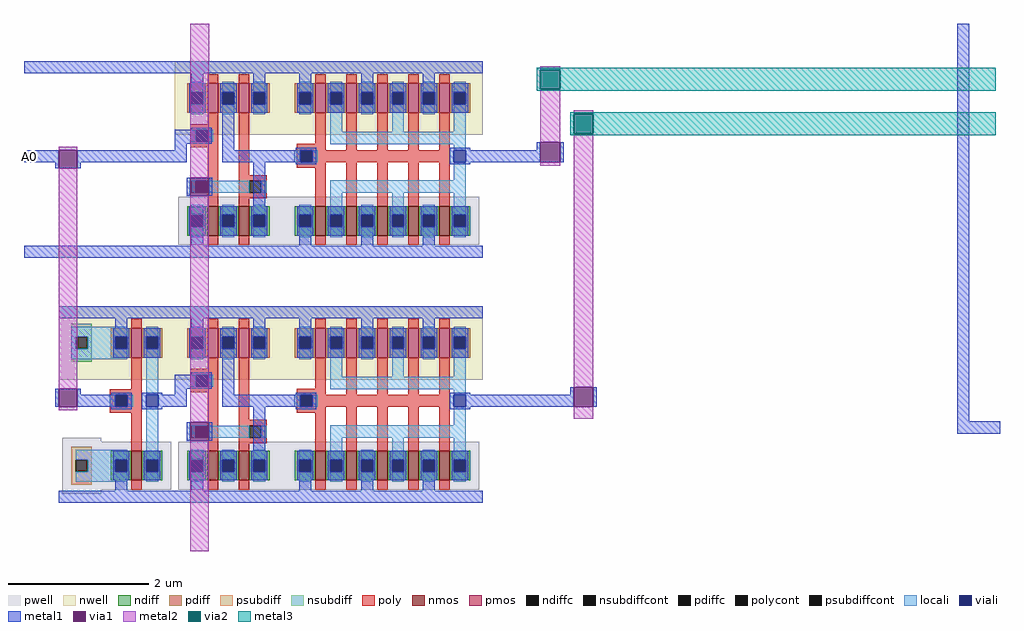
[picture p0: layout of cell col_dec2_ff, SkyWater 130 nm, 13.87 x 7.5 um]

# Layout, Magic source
magic
tech sky130A
magscale 1 2
<< nwell >>
rect 428 1184 1304 1392
rect 99 488 1304 696
<< pwell >>
rect 438 871 1294 1007
rect 109 311 219 323
rect 109 175 419 311
rect 438 175 1294 311
rect 109 163 219 175
<< nmos >>
rect 522 897 552 981
rect 610 897 640 981
rect 828 897 858 981
rect 916 897 946 981
rect 1004 897 1034 981
rect 1092 897 1122 981
rect 1180 897 1210 981
rect 305 201 335 285
rect 522 201 552 285
rect 610 201 640 285
rect 828 201 858 285
rect 916 201 946 285
rect 1004 201 1034 285
rect 1092 201 1122 285
rect 1180 201 1210 285
<< pmos >>
rect 522 1246 552 1330
rect 610 1246 640 1330
rect 828 1246 858 1330
rect 916 1246 946 1330
rect 1004 1246 1034 1330
rect 1092 1246 1122 1330
rect 1180 1246 1210 1330
rect 305 550 335 634
rect 522 550 552 634
rect 610 550 640 634
rect 828 550 858 634
rect 916 550 946 634
rect 1004 550 1034 634
rect 1092 550 1122 634
rect 1180 550 1210 634
<< ndiff >>
rect 464 956 522 981
rect 464 922 476 956
rect 510 922 522 956
rect 464 897 522 922
rect 552 956 610 981
rect 552 922 564 956
rect 598 922 610 956
rect 552 897 610 922
rect 640 956 698 981
rect 640 922 652 956
rect 686 922 698 956
rect 640 897 698 922
rect 770 956 828 981
rect 770 922 782 956
rect 816 922 828 956
rect 770 897 828 922
rect 858 956 916 981
rect 858 922 870 956
rect 904 922 916 956
rect 858 897 916 922
rect 946 956 1004 981
rect 946 922 958 956
rect 992 922 1004 956
rect 946 897 1004 922
rect 1034 956 1092 981
rect 1034 922 1046 956
rect 1080 922 1092 956
rect 1034 897 1092 922
rect 1122 956 1180 981
rect 1122 922 1134 956
rect 1168 922 1180 956
rect 1122 897 1180 922
rect 1210 956 1268 981
rect 1210 922 1222 956
rect 1256 922 1268 956
rect 1210 897 1268 922
rect 247 260 305 285
rect 247 226 259 260
rect 293 226 305 260
rect 247 201 305 226
rect 335 260 393 285
rect 335 226 347 260
rect 381 226 393 260
rect 335 201 393 226
rect 464 260 522 285
rect 464 226 476 260
rect 510 226 522 260
rect 464 201 522 226
rect 552 260 610 285
rect 552 226 564 260
rect 598 226 610 260
rect 552 201 610 226
rect 640 260 698 285
rect 640 226 652 260
rect 686 226 698 260
rect 640 201 698 226
rect 770 260 828 285
rect 770 226 782 260
rect 816 226 828 260
rect 770 201 828 226
rect 858 260 916 285
rect 858 226 870 260
rect 904 226 916 260
rect 858 201 916 226
rect 946 260 1004 285
rect 946 226 958 260
rect 992 226 1004 260
rect 946 201 1004 226
rect 1034 260 1092 285
rect 1034 226 1046 260
rect 1080 226 1092 260
rect 1034 201 1092 226
rect 1122 260 1180 285
rect 1122 226 1134 260
rect 1168 226 1180 260
rect 1122 201 1180 226
rect 1210 260 1268 285
rect 1210 226 1222 260
rect 1256 226 1268 260
rect 1210 201 1268 226
<< pdiff >>
rect 464 1305 522 1330
rect 464 1271 476 1305
rect 510 1271 522 1305
rect 464 1246 522 1271
rect 552 1305 610 1330
rect 552 1271 564 1305
rect 598 1271 610 1305
rect 552 1246 610 1271
rect 640 1305 698 1330
rect 640 1271 652 1305
rect 686 1271 698 1305
rect 640 1246 698 1271
rect 770 1305 828 1330
rect 770 1271 782 1305
rect 816 1271 828 1305
rect 770 1246 828 1271
rect 858 1305 916 1330
rect 858 1271 870 1305
rect 904 1271 916 1305
rect 858 1246 916 1271
rect 946 1305 1004 1330
rect 946 1271 958 1305
rect 992 1271 1004 1305
rect 946 1246 1004 1271
rect 1034 1305 1092 1330
rect 1034 1271 1046 1305
rect 1080 1271 1092 1305
rect 1034 1246 1092 1271
rect 1122 1305 1180 1330
rect 1122 1271 1134 1305
rect 1168 1271 1180 1305
rect 1122 1246 1180 1271
rect 1210 1305 1268 1330
rect 1210 1271 1222 1305
rect 1256 1271 1268 1305
rect 1210 1246 1268 1271
rect 247 609 305 634
rect 247 575 259 609
rect 293 575 305 609
rect 247 550 305 575
rect 335 609 393 634
rect 335 575 347 609
rect 381 575 393 609
rect 335 550 393 575
rect 464 609 522 634
rect 464 575 476 609
rect 510 575 522 609
rect 464 550 522 575
rect 552 609 610 634
rect 552 575 564 609
rect 598 575 610 609
rect 552 550 610 575
rect 640 609 698 634
rect 640 575 652 609
rect 686 575 698 609
rect 640 550 698 575
rect 770 609 828 634
rect 770 575 782 609
rect 816 575 828 609
rect 770 550 828 575
rect 858 609 916 634
rect 858 575 870 609
rect 904 575 916 609
rect 858 550 916 575
rect 946 609 1004 634
rect 946 575 958 609
rect 992 575 1004 609
rect 946 550 1004 575
rect 1034 609 1092 634
rect 1034 575 1046 609
rect 1080 575 1092 609
rect 1034 550 1092 575
rect 1122 609 1180 634
rect 1122 575 1134 609
rect 1168 575 1180 609
rect 1122 550 1180 575
rect 1210 609 1268 634
rect 1210 575 1222 609
rect 1256 575 1268 609
rect 1210 550 1268 575
<< ndiffc >>
rect 476 922 510 956
rect 564 922 598 956
rect 652 922 686 956
rect 782 922 816 956
rect 870 922 904 956
rect 958 922 992 956
rect 1046 922 1080 956
rect 1134 922 1168 956
rect 1222 922 1256 956
rect 259 226 293 260
rect 347 226 381 260
rect 476 226 510 260
rect 564 226 598 260
rect 652 226 686 260
rect 782 226 816 260
rect 870 226 904 260
rect 958 226 992 260
rect 1046 226 1080 260
rect 1134 226 1168 260
rect 1222 226 1256 260
<< pdiffc >>
rect 476 1271 510 1305
rect 564 1271 598 1305
rect 652 1271 686 1305
rect 782 1271 816 1305
rect 870 1271 904 1305
rect 958 1271 992 1305
rect 1046 1271 1080 1305
rect 1134 1271 1168 1305
rect 1222 1271 1256 1305
rect 259 575 293 609
rect 347 575 381 609
rect 476 575 510 609
rect 564 575 598 609
rect 652 575 686 609
rect 782 575 816 609
rect 870 575 904 609
rect 958 575 992 609
rect 1046 575 1080 609
rect 1134 575 1168 609
rect 1222 575 1256 609
<< psubdiff >>
rect 135 260 193 297
rect 135 226 147 260
rect 181 226 193 260
rect 135 189 193 226
<< nsubdiff >>
rect 135 609 193 646
rect 135 575 147 609
rect 181 575 193 609
rect 135 538 193 575
<< psubdiffcont >>
rect 147 226 181 260
<< nsubdiffcont >>
rect 147 575 181 609
<< poly >>
rect 522 1330 552 1356
rect 610 1330 640 1356
rect 828 1330 858 1356
rect 916 1330 946 1356
rect 1004 1330 1034 1356
rect 1092 1330 1122 1356
rect 1180 1330 1210 1356
rect 522 1214 552 1246
rect 472 1198 552 1214
rect 472 1164 488 1198
rect 522 1164 552 1198
rect 472 1148 552 1164
rect 522 981 552 1148
rect 610 1069 640 1246
rect 828 1158 858 1246
rect 775 1140 858 1158
rect 916 1140 946 1246
rect 1004 1140 1034 1246
rect 1092 1140 1122 1246
rect 1180 1140 1210 1246
rect 775 1106 785 1140
rect 819 1106 1210 1140
rect 775 1090 858 1106
rect 610 1053 690 1069
rect 610 1019 640 1053
rect 674 1019 690 1053
rect 610 1003 690 1019
rect 610 981 640 1003
rect 828 981 858 1090
rect 916 981 946 1106
rect 1004 981 1034 1106
rect 1092 981 1122 1106
rect 1180 981 1210 1106
rect 522 871 552 897
rect 610 871 640 897
rect 828 871 858 897
rect 916 871 946 897
rect 1004 871 1034 897
rect 1092 871 1122 897
rect 1180 871 1210 897
rect 305 634 335 660
rect 522 634 552 660
rect 610 634 640 660
rect 828 634 858 660
rect 916 634 946 660
rect 1004 634 1034 660
rect 1092 634 1122 660
rect 1180 634 1210 660
rect 305 460 335 550
rect 522 518 552 550
rect 244 444 335 460
rect 472 502 552 518
rect 472 468 488 502
rect 522 468 552 502
rect 472 452 552 468
rect 244 410 260 444
rect 294 410 335 444
rect 244 394 335 410
rect 305 285 335 394
rect 522 285 552 452
rect 610 373 640 550
rect 828 462 858 550
rect 775 444 858 462
rect 916 444 946 550
rect 1004 444 1034 550
rect 1092 444 1122 550
rect 1180 444 1210 550
rect 775 410 785 444
rect 819 410 1210 444
rect 775 394 858 410
rect 610 357 690 373
rect 610 323 640 357
rect 674 323 690 357
rect 610 307 690 323
rect 610 285 640 307
rect 828 285 858 394
rect 916 285 946 410
rect 1004 285 1034 410
rect 1092 285 1122 410
rect 1180 285 1210 410
rect 305 175 335 201
rect 522 175 552 201
rect 610 175 640 201
rect 828 175 858 201
rect 916 175 946 201
rect 1004 175 1034 201
rect 1092 175 1122 201
rect 1180 175 1210 201
<< polycont >>
rect 488 1164 522 1198
rect 785 1106 819 1140
rect 640 1019 674 1053
rect 488 468 522 502
rect 260 410 294 444
rect 785 410 819 444
rect 640 323 674 357
<< locali >>
rect 476 1305 510 1334
rect 476 1242 510 1271
rect 564 1305 598 1334
rect 564 1242 598 1271
rect 652 1305 686 1334
rect 652 1242 686 1271
rect 782 1305 816 1334
rect 782 1242 816 1271
rect 870 1305 904 1334
rect 472 1164 488 1198
rect 522 1164 538 1198
rect 870 1192 904 1271
rect 958 1305 992 1334
rect 958 1242 992 1271
rect 1046 1305 1080 1334
rect 1046 1192 1080 1271
rect 1134 1305 1168 1334
rect 1134 1242 1168 1271
rect 1222 1305 1256 1334
rect 1222 1192 1256 1271
rect 870 1157 1256 1192
rect 1222 1140 1256 1157
rect 768 1106 785 1140
rect 819 1106 835 1140
rect 1222 1054 1256 1106
rect 476 1019 488 1053
rect 522 1019 640 1053
rect 674 1019 690 1053
rect 870 1019 1256 1054
rect 476 956 510 985
rect 476 893 510 922
rect 564 956 598 985
rect 564 893 598 922
rect 652 956 686 985
rect 652 893 686 922
rect 782 956 816 985
rect 782 893 816 922
rect 870 956 904 1019
rect 870 893 904 922
rect 958 956 992 985
rect 958 893 992 922
rect 1046 956 1080 1019
rect 1046 893 1080 922
rect 1134 956 1168 985
rect 1134 893 1168 922
rect 1222 956 1256 1019
rect 1222 893 1256 922
rect 135 609 293 638
rect 135 575 147 609
rect 181 575 259 609
rect 135 546 293 575
rect 347 609 381 638
rect 347 444 381 575
rect 476 609 510 638
rect 476 546 510 575
rect 564 609 598 638
rect 564 546 598 575
rect 652 609 686 638
rect 652 546 686 575
rect 782 609 816 638
rect 782 546 816 575
rect 870 609 904 638
rect 472 468 488 502
rect 522 468 538 502
rect 870 496 904 575
rect 958 609 992 638
rect 958 546 992 575
rect 1046 609 1080 638
rect 1046 496 1080 575
rect 1134 609 1168 638
rect 1134 546 1168 575
rect 1222 609 1256 638
rect 1222 496 1256 575
rect 870 461 1256 496
rect 1222 444 1256 461
rect 244 410 260 444
rect 294 410 310 444
rect 768 410 785 444
rect 819 410 835 444
rect 147 260 293 289
rect 181 226 259 260
rect 147 197 293 226
rect 347 260 381 410
rect 1222 358 1256 410
rect 476 323 488 357
rect 522 323 640 357
rect 674 323 690 357
rect 870 323 1256 358
rect 347 197 381 226
rect 476 260 510 289
rect 476 197 510 226
rect 564 260 598 289
rect 564 197 598 226
rect 652 260 686 289
rect 652 197 686 226
rect 782 260 816 289
rect 782 197 816 226
rect 870 260 904 323
rect 870 197 904 226
rect 958 260 992 289
rect 958 197 992 226
rect 1046 260 1080 323
rect 1046 197 1080 226
rect 1134 260 1168 289
rect 1134 197 1168 226
rect 1222 260 1256 323
rect 1222 197 1256 226
<< viali >>
rect 476 1271 510 1305
rect 564 1271 598 1305
rect 652 1271 686 1305
rect 782 1271 816 1305
rect 870 1271 904 1305
rect 488 1164 522 1198
rect 958 1271 992 1305
rect 1046 1271 1080 1305
rect 1134 1271 1168 1305
rect 1222 1271 1256 1305
rect 785 1106 819 1140
rect 1222 1106 1256 1140
rect 488 1019 522 1053
rect 476 922 510 956
rect 564 922 598 956
rect 652 922 686 956
rect 782 922 816 956
rect 870 922 904 956
rect 958 922 992 956
rect 1046 922 1080 956
rect 1134 922 1168 956
rect 1222 922 1256 956
rect 259 575 293 609
rect 347 575 381 609
rect 476 575 510 609
rect 564 575 598 609
rect 652 575 686 609
rect 782 575 816 609
rect 870 575 904 609
rect 488 468 522 502
rect 958 575 992 609
rect 1046 575 1080 609
rect 1134 575 1168 609
rect 1222 575 1256 609
rect 260 410 294 444
rect 347 410 381 444
rect 785 410 819 444
rect 1222 410 1256 444
rect 259 226 293 260
rect 488 323 522 357
rect 347 226 381 260
rect 476 226 510 260
rect 564 226 598 260
rect 652 226 686 260
rect 782 226 816 260
rect 870 226 904 260
rect 958 226 992 260
rect 1046 226 1080 260
rect 1134 226 1168 260
rect 1222 226 1256 260
<< metal1 >>
rect 0 1358 1304 1392
rect 476 1330 510 1358
rect 652 1330 686 1358
rect 782 1330 816 1358
rect 958 1330 992 1358
rect 1134 1330 1168 1358
rect 470 1305 516 1330
rect 470 1271 476 1305
rect 510 1271 516 1305
rect 470 1246 516 1271
rect 558 1305 604 1330
rect 558 1271 564 1305
rect 598 1271 604 1305
rect 558 1246 604 1271
rect 646 1305 692 1330
rect 646 1271 652 1305
rect 686 1271 692 1305
rect 646 1246 692 1271
rect 776 1305 822 1330
rect 776 1271 782 1305
rect 816 1271 822 1305
rect 776 1246 822 1271
rect 864 1305 910 1330
rect 864 1271 870 1305
rect 904 1271 910 1305
rect 864 1246 910 1271
rect 952 1305 998 1330
rect 952 1271 958 1305
rect 992 1271 998 1305
rect 952 1246 998 1271
rect 1040 1305 1086 1330
rect 1040 1271 1046 1305
rect 1080 1271 1086 1305
rect 1040 1246 1086 1271
rect 1128 1305 1174 1330
rect 1128 1271 1134 1305
rect 1168 1271 1174 1305
rect 1128 1246 1174 1271
rect 1216 1305 1262 1330
rect 1216 1271 1222 1305
rect 1256 1271 1262 1305
rect 1216 1246 1262 1271
rect 476 1198 534 1204
rect 428 1164 488 1198
rect 522 1164 534 1198
rect 428 1158 534 1164
rect 428 1140 462 1158
rect 0 1106 99 1140
rect 89 1088 99 1106
rect 151 1106 462 1140
rect 564 1140 598 1246
rect 773 1140 831 1146
rect 564 1106 785 1140
rect 819 1106 831 1140
rect 151 1088 161 1106
rect 463 1010 473 1062
rect 525 1010 535 1062
rect 652 981 686 1106
rect 773 1100 831 1106
rect 1210 1140 1268 1146
rect 1458 1140 1468 1162
rect 1210 1106 1222 1140
rect 1256 1106 1468 1140
rect 1524 1106 1534 1162
rect 1210 1100 1268 1106
rect 470 956 516 981
rect 470 922 476 956
rect 510 922 516 956
rect 470 897 516 922
rect 558 956 604 981
rect 558 922 564 956
rect 598 922 604 956
rect 558 897 604 922
rect 646 956 692 981
rect 646 922 652 956
rect 686 922 692 956
rect 646 897 692 922
rect 776 956 822 981
rect 776 922 782 956
rect 816 922 822 956
rect 776 897 822 922
rect 864 956 910 981
rect 864 922 870 956
rect 904 922 910 956
rect 864 897 910 922
rect 952 956 998 981
rect 952 922 958 956
rect 992 922 998 956
rect 952 897 998 922
rect 1040 956 1086 981
rect 1040 922 1046 956
rect 1080 922 1086 956
rect 1040 897 1086 922
rect 1128 956 1174 981
rect 1128 922 1134 956
rect 1168 922 1174 956
rect 1128 897 1174 922
rect 1216 956 1262 981
rect 1216 922 1222 956
rect 1256 922 1262 956
rect 1216 897 1262 922
rect 476 868 510 897
rect 782 868 816 897
rect 958 868 992 897
rect 1134 868 1168 897
rect 0 834 1304 868
rect 99 662 1304 696
rect 259 634 293 662
rect 476 634 510 662
rect 652 634 686 662
rect 782 634 816 662
rect 958 634 992 662
rect 1134 634 1168 662
rect 253 609 299 634
rect 253 575 259 609
rect 293 575 299 609
rect 253 550 299 575
rect 341 609 387 634
rect 341 575 347 609
rect 381 575 387 609
rect 341 550 387 575
rect 470 609 516 634
rect 470 575 476 609
rect 510 575 516 609
rect 470 550 516 575
rect 558 609 604 634
rect 558 575 564 609
rect 598 575 604 609
rect 558 550 604 575
rect 646 609 692 634
rect 646 575 652 609
rect 686 575 692 609
rect 646 550 692 575
rect 776 609 822 634
rect 776 575 782 609
rect 816 575 822 609
rect 776 550 822 575
rect 864 609 910 634
rect 864 575 870 609
rect 904 575 910 609
rect 864 550 910 575
rect 952 609 998 634
rect 952 575 958 609
rect 992 575 998 609
rect 952 550 998 575
rect 1040 609 1086 634
rect 1040 575 1046 609
rect 1080 575 1086 609
rect 1040 550 1086 575
rect 1128 609 1174 634
rect 1128 575 1134 609
rect 1168 575 1174 609
rect 1128 550 1174 575
rect 1216 609 1262 634
rect 1216 575 1222 609
rect 1256 575 1262 609
rect 1216 550 1262 575
rect 476 502 534 508
rect 428 468 488 502
rect 522 468 534 502
rect 428 462 534 468
rect 89 410 99 462
rect 151 444 161 462
rect 248 444 306 450
rect 151 410 260 444
rect 294 410 306 444
rect 248 404 306 410
rect 335 444 393 450
rect 428 444 462 462
rect 335 410 347 444
rect 381 410 462 444
rect 564 444 598 550
rect 773 444 831 450
rect 564 410 785 444
rect 819 410 831 444
rect 335 404 393 410
rect 463 314 473 366
rect 525 314 535 366
rect 652 285 686 410
rect 773 404 831 410
rect 1210 444 1268 450
rect 1552 444 1562 466
rect 1210 410 1222 444
rect 1256 410 1562 444
rect 1618 410 1628 466
rect 1210 404 1268 410
rect 2652 369 2686 1499
rect 2652 334 2774 369
rect 253 260 299 285
rect 253 226 259 260
rect 293 226 299 260
rect 253 201 299 226
rect 341 260 387 285
rect 341 226 347 260
rect 381 226 387 260
rect 341 201 387 226
rect 470 260 516 285
rect 470 226 476 260
rect 510 226 516 260
rect 470 201 516 226
rect 558 260 604 285
rect 558 226 564 260
rect 598 226 604 260
rect 558 201 604 226
rect 646 260 692 285
rect 646 226 652 260
rect 686 226 692 260
rect 646 201 692 226
rect 776 260 822 285
rect 776 226 782 260
rect 816 226 822 260
rect 776 201 822 226
rect 864 260 910 285
rect 864 226 870 260
rect 904 226 910 260
rect 864 201 910 226
rect 952 260 998 285
rect 952 226 958 260
rect 992 226 998 260
rect 952 201 998 226
rect 1040 260 1086 285
rect 1040 226 1046 260
rect 1080 226 1086 260
rect 1040 201 1086 226
rect 1128 260 1174 285
rect 1128 226 1134 260
rect 1168 226 1174 260
rect 1128 201 1174 226
rect 1216 260 1262 285
rect 1216 226 1222 260
rect 1256 226 1262 260
rect 1216 201 1262 226
rect 259 172 293 201
rect 476 172 510 201
rect 782 172 816 201
rect 958 172 992 201
rect 1134 172 1168 201
rect 99 138 1304 172
<< via1 >>
rect 99 1088 151 1140
rect 473 1053 525 1062
rect 473 1019 488 1053
rect 488 1019 522 1053
rect 522 1019 525 1053
rect 473 1010 525 1019
rect 1468 1106 1524 1162
rect 99 410 151 462
rect 473 357 525 366
rect 473 323 488 357
rect 488 323 522 357
rect 522 323 525 357
rect 473 314 525 323
rect 1562 410 1618 466
<< metal2 >>
rect 473 1391 526 1499
rect 99 1140 151 1150
rect 99 462 151 1088
rect 99 400 151 410
rect 473 1062 525 1391
rect 1468 1369 1524 1379
rect 1468 1162 1524 1313
rect 1468 1096 1524 1106
rect 1562 1243 1618 1253
rect 473 366 525 1010
rect 1562 466 1618 1187
rect 1562 376 1618 410
rect 473 0 525 314
<< via2 >>
rect 1468 1313 1524 1369
rect 1562 1187 1618 1243
<< metal3 >>
rect 1458 1369 2762 1374
rect 1458 1313 1468 1369
rect 1524 1313 2762 1369
rect 1458 1308 2762 1313
rect 1552 1243 2762 1248
rect 1552 1187 1562 1243
rect 1618 1187 2762 1243
rect 1552 1182 2762 1187
<< labels >>
rlabel metal1 0 1106 34 1140 0 A0
<< end >>
